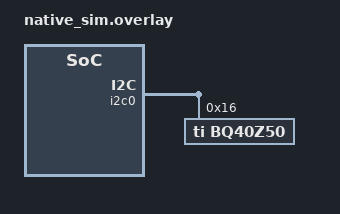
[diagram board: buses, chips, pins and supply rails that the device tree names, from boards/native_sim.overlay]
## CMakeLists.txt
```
# SPDX-License-Identifier: Apache-2.0

cmake_minimum_required(VERSION 3.28.0)
find_package(Zephyr REQUIRED HINTS $ENV{ZEPHYR_BASE})
project(device)

FILE(GLOB app_sources src/test_bq40z50.c)
target_sources(app PRIVATE ${app_sources})
```

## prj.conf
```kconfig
CONFIG_ZTEST=y
CONFIG_I2C=y
CONFIG_TEST_USERSPACE=y
CONFIG_LOG=y

CONFIG_FUEL_GAUGE=y
```

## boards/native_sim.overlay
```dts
/*
 * SPDX-License-Identifier: Apache-2.0
 */

&i2c0 {
	bq40z50: bq40z50@16 {
		compatible = "ti,bq40z50";
		reg = <0x16>;
		status = "okay";
	};
};
```

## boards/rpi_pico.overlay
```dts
/*
 * SPDX-License-Identifier: Apache-2.0
 */

&i2c0 {
	bq40z50: bq40z50@16 {
		compatible="ti,bq40z50";
		reg = <0x16>;
		status = "okay";
	};
};
```

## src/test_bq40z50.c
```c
/*
 * Copyright (c) Qualcomm Technologies, Inc. and/or its subsidiaries.
 * SPDX-License-Identifier: Apache-2.0
 */

#include <zephyr/device.h>
#include <zephyr/drivers/fuel_gauge.h>
#include <zephyr/drivers/i2c.h>
#include <zephyr/logging/log.h>
#include <zephyr/sys/byteorder.h>
#include <zephyr/sys/util.h>
#include <zephyr/ztest.h>
#include <zephyr/ztest_assert.h>

struct bq40z50_fixture {
	const struct device *dev;
	const struct fuel_gauge_driver_api *api;
};

static void *bq40z50_setup(void)
{
	static ZTEST_DMEM struct bq40z50_fixture fixture;

	fixture.dev = DEVICE_DT_GET_ANY(ti_bq40z50);
	k_object_access_all_grant(fixture.dev);

	zassert_true(device_is_ready(fixture.dev), "Fuel Gauge not found");

	return &fixture;
}

ZTEST_USER_F(bq40z50, test_get_some_props_failed_returns_bad_status)
{
	fuel_gauge_prop_t props[] = {
		/* First invalid property */
		FUEL_GAUGE_PROP_MAX,
		/* Second invalid property */
		FUEL_GAUGE_PROP_MAX,
		/* Valid property */
		FUEL_GAUGE_VOLTAGE_UV,
	};
	union fuel_gauge_prop_val vals[ARRAY_SIZE(props)];

	int ret = fuel_gauge_get_props(fixture->dev, props, vals, ARRAY_SIZE(props));

	zassert_equal(ret, -ENOTSUP, "Getting bad property has a good status.");
}

ZTEST_USER_F(bq40z50, test_get_buffer_prop)
{
	int ret;

	{
		struct sbs_gauge_manufacturer_name mfg_name;

		ret = fuel_gauge_get_buffer_prop(fixture->dev, FUEL_GAUGE_MANUFACTURER_NAME,
						 &mfg_name, sizeof(mfg_name));
		zassert_ok(ret);
#if CONFIG_EMUL
		/* Only test for fixed values in emulation since the real device might be */
		/* reprogrammed and respond with different values */
		zassert_equal(sizeof("Texas Inst.") - 1, mfg_name.manufacturer_name_length);
		zassert_mem_equal(mfg_name.manufacturer_name, "Texas Inst.",
				  mfg_name.manufacturer_name_length,
				  "mfg_name.manufacturer_name='%s'", mfg_name.manufacturer_name);
#endif
	}
	{
		struct sbs_gauge_device_name dev_name;

		ret = fuel_gauge_get_buffer_prop(fixture->dev, FUEL_GAUGE_DEVICE_NAME, &dev_name,
						 sizeof(dev_name));
		zassert_ok(ret);
#if CONFIG_EMUL
		/* Only test for fixed values in emulation since the real device might be */
		/* reprogrammed and respond with different values */
		zassert_equal(sizeof("bq40z50") - 1, dev_name.device_name_length);
		zassert_mem_equal(dev_name.device_name, "bq40z50", dev_name.device_name_length);
#endif
	}
	{
		struct sbs_gauge_device_chemistry device_chemistry;

		ret = fuel_gauge_get_buffer_prop(fixture->dev, FUEL_GAUGE_DEVICE_CHEMISTRY,
						 &device_chemistry, sizeof(device_chemistry));
		zassert_ok(ret);
#if CONFIG_EMUL
		/* Only test for fixed values in emulation since the real device might be */
		/* reprogrammed and respond with different values */
		zassert_equal(sizeof("LION") - 1, device_chemistry.device_chemistry_length);
		zassert_mem_equal(device_chemistry.device_chemistry, "LION",
				  device_chemistry.device_chemistry_length);
#endif
	}
}

ZTEST_USER_F(bq40z50, test_get_props__returns_ok)
{
	/* Validate what props are supported by the driver */

	fuel_gauge_prop_t props[] = {
		FUEL_GAUGE_AVG_CURRENT_UA,
		FUEL_GAUGE_CURRENT_UA,
		FUEL_GAUGE_CHARGE_CUTOFF,
		FUEL_GAUGE_CYCLE_COUNT,
		FUEL_GAUGE_FULL_CHARGE_CAPACITY,
		FUEL_GAUGE_REMAINING_CAPACITY,
		FUEL_GAUGE_RUNTIME_TO_EMPTY_MINS,
		FUEL_GAUGE_SBS_MFR_ACCESS,
		FUEL_GAUGE_ABSOLUTE_STATE_OF_CHARGE_PCT,
		FUEL_GAUGE_RELATIVE_STATE_OF_CHARGE_PCT,
		FUEL_GAUGE_TEMPERATURE_DK,
		FUEL_GAUGE_VOLTAGE_UV,
		FUEL_GAUGE_SBS_MODE,
		FUEL_GAUGE_CHARGE_CURRENT_UA,
		FUEL_GAUGE_CHARGE_VOLTAGE_UV,
		FUEL_GAUGE_STATUS,
		FUEL_GAUGE_DESIGN_CAPACITY,
		FUEL_GAUGE_DESIGN_VOLTAGE_MV,
		FUEL_GAUGE_SBS_ATRATE,
		FUEL_GAUGE_SBS_ATRATE_TIME_TO_FULL_MINS,
		FUEL_GAUGE_SBS_ATRATE_TIME_TO_EMPTY_MINS,
		FUEL_GAUGE_SBS_ATRATE_OK,
		FUEL_GAUGE_SBS_REMAINING_CAPACITY_ALARM,
		FUEL_GAUGE_SBS_REMAINING_TIME_ALARM_MINS,
		FUEL_GAUGE_STATE_OF_HEALTH,
	};

	union fuel_gauge_prop_val vals[ARRAY_SIZE(props)];

	zassert_ok(fuel_gauge_get_props(fixture->dev, props, vals, ARRAY_SIZE(props)));
	/* Check properties for valid ranges */
#if CONFIG_EMUL
	zassert_equal(vals[0].avg_current_ua, 1 * 1000);
	zassert_equal(vals[1].current_ua, 1 * 1000);
	/* Not testing props[2]. This is the charger cutoff and has a boolean.*/
	zassert_equal(vals[3].cycle_count, 1);
	zassert_equal(vals[4].full_charge_capacity, 1 * 1000);
	zassert_equal(vals[5].remaining_capacity, 1 * 1000);
	zassert_equal(vals[6].runtime_to_empty_mins, 65535);
	/* Not testing props[7]. This is the manufacturer access and has only status bits */
	zassert_equal(vals[8].absolute_state_of_charge_pct, 100);
	zassert_equal(vals[9].relative_state_of_charge_pct, 100);
	zassert_equal(vals[10].temperature_dk, 2980);
	zassert_equal(vals[11].voltage_uv, 1 * 1000);
	zassert_equal(vals[12].sbs_mode, 0);
	zassert_equal(vals[13].chg_current_ua, 1 * 1000);
	zassert_equal(vals[14].chg_voltage_uv, 1 * 1000);
	/* Not testing props[15]. This property is the status and only has only status bits */
	zassert_equal(vals[16].design_cap, 1);
	zassert_equal(vals[17].design_volt_mv, 14400);
	zassert_equal(vals[18].sbs_at_rate, 0);
	zassert_equal(vals[19].sbs_at_rate_time_to_full_mins, 65535);
	zassert_equal(vals[20].sbs_at_rate_time_to_empty_mins, 65535);
	zassert_equal(vals[21].sbs_at_rate_ok, 0);
	zassert_equal(vals[22].sbs_remaining_capacity_alarm, 300);
	zassert_equal(vals[23].sbs_remaining_time_alarm_mins, 10);
	zassert_equal(vals[24].state_of_health, 100);
#else
	/* When having a real device, check for the valid ranges */
	zassert_between_inclusive(vals[0].avg_current_ua, -32767 * 1000, 32768 * 1000);
	zassert_between_inclusive(vals[1].current_ua, -32767 * 1000, 32768 * 1000);
	/* Not testing props[2]. This is the charger cutoff and has a boolean.*/
	zassert_between_inclusive(vals[3].cycle_count, 0, 65535);
	zassert_between_inclusive(vals[4].full_charge_capacity, 0, 65535 * 1000);
	zassert_between_inclusive(vals[5].remaining_capacity, 0, 65535 * 1000);
	zassert_between_inclusive(vals[6].runtime_to_empty_mins, 0, 65535);
	/* Not testing props[7]. This is the manufacturer access and has only status bits */
	zassert_between_inclusive(vals[8].absolute_state_of_charge_pct, 0, 100);
	zassert_between_inclusive(vals[9].relative_state_of_charge_pct, 0, 100);
	zassert_between_inclusive(vals[10].temperature_dk, 0, 65535);
	zassert_between_inclusive(vals[11].voltage_uv, 0, 65535 * 1000);
	zassert_between_inclusive(vals[12].sbs_mode, 0, 65535 * 1000);
	zassert_between_inclusive(vals[13].chg_current_ua, 0, 65535 * 1000);
	zassert_between_inclusive(vals[14].chg_voltage_uv, 0, 65535 * 1000);
	/* Not testing props[15]. This property is the status and only has only status bits */
	zassert_between_inclusive(vals[16].design_cap, 0, 65535);
	zassert_between_inclusive(vals[17].design_volt_mv, 0, 18000);
	zassert_between_inclusive(vals[18].sbs_at_rate, -32768, 32767);
	zassert_between_inclusive(vals[19].sbs_at_rate_time_to_full_mins, 0, 65535);
	zassert_between_inclusive(vals[20].sbs_at_rate_time_to_empty_mins, 0, 65535);
	/* Not testing props[21]. This is the sbs_at_rate_ok property and has a boolean.*/
	zassert_between_inclusive(vals[22].sbs_remaining_capacity_alarm, 0, 1000);
	zassert_between_inclusive(vals[23].sbs_remaining_time_alarm_mins, 0, 30);
	zassert_between_inclusive(vals[24].state_of_health, 0, 100);
#endif
}

ZTEST_SUITE(bq40z50, NULL, bq40z50_setup, NULL, NULL, NULL);
```
